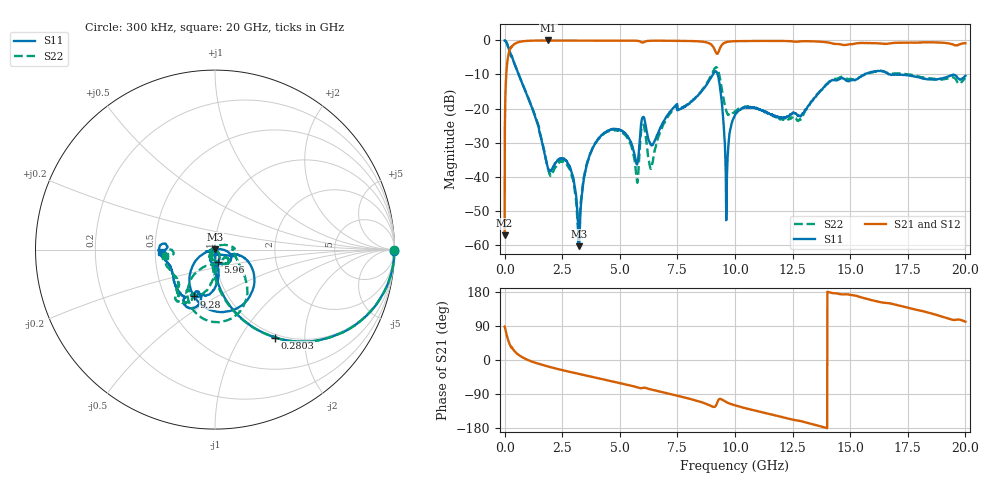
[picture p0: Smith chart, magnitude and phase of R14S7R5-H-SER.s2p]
!{R14S7R5}
!Johanson Technology Inc.
!www.johansontechnology.com
!Test Board Conditions:
!Substrate Type  RO4350B
!Substrate Thickness  20 mil
!Substrate Dk  3.66
!TL Type: GCPW
!TL Trace Width  36 mil
!TL Gap  12 mil
!Electrode orientation  Horizontal
!DUT TOPOLOGY	SERIES
!Mounting Pad LxW  26x36 mil
! Created Wed Nov 25 17:33:21 2020
! 2 Port Network Data from SP1.SP block
! freq  magS11  angS11  magS21  angS21  magS12  angS12  magS22  angS22
# khz S ma R 50
! decimated to every 10th point (10 MHz spacing) of the original 1 MHz Johanson file; values unchanged
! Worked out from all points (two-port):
!   2001 points, 300 kHz to 20 GHz, reference 50 ohm
!   highest |S21| = -0.02 dB at 1.89 GHz (marker M1); lowest = -57.3 dB at 300 kHz (marker M2)
!   |S21| within 3 dB of the highest: 211.6 MHz to 9.138 GHz (8.926 GHz wide, 191 % of centre); 9.306 GHz to end of sweep
!   lowest |S11| = -60.4 dB at 3.23 GHz (marker M3), VSWR 1.00, Z = 50 + j0.0947 ohm
!   |S11| at or under -10 dB: 606 MHz to 9.041 GHz (8.435 GHz wide, 175 % of centre); 9.249 GHz to 15.62 GHz (6.373 GHz wide, 51.2 % of centre); 16.85 GHz to end of sweep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
!   |S22| runs from -60.0 to 0.0 dB; largest |S21 - S12| = 0.02
!   S11 on the Smith chart (normalised r, x): 300 kHz: open; 280.3 MHz: 0.95, -1.43; 5.96 GHz: 1.02, -0.14; 9.28 GHz: 0.70, -0.40; 20 GHz: 0.54, -0.01
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300  0.9961 -0.3  0.001372 88.1  0.001448 90.0  0.9966 -0.3
110300  0.8859 -28.5  0.4595 61.4  0.4605 61.3  0.8863 -28.4
280300  0.5932 -55.7  0.7997 33.9  0.7997 33.9  0.594 -55.6
1890300  0.01327 -42.7  0.9974 -17.2  0.9973 -17.3  0.01266 -159.7
2760300  0.01522 30.2  0.9968 -30.4  0.9963 -30.4  0.01393 95.1
3230300  0.0009514 95.1  0.9967 -37.0  0.9964 -37.0  0.00116 -159.0
3340300  0.004675 -169.6  0.997 -38.5  0.9957 -38.5  0.005673 -110.1
3580300  0.01544 -163.8  0.9962 -41.8  0.9949 -41.8  0.01588 -107.8
4040300  0.03504 -166.2  0.995 -48.0  0.9947 -48.0  0.03444 -112.2
5160300  0.0451 -168.1  0.9938 -63.1  0.9933 -63.1  0.04288 -132.6
5740300  0.01529 -111.3  0.9876 -71.8  0.987 -71.8  0.008912 -109.2
5960300  0.07035 -77.6  0.934 -74.2  0.9345 -74.2  0.055 -74.7
6340300  0.02951 -91.2  0.9892 -77.6  0.9891 -77.6  0.01298 120.0
6670300  0.04401 -40.5  0.9917 -82.6  0.9909 -82.5  0.03775 41.7
8940300  0.2771 -37.5  0.8835 -120.7  0.8847 -120.7  0.295 -52.5
9280300  0.2858 -114.2  0.6724 -105.6  0.6748 -105.6  0.3535 -110.8
9630300  0.003281 36.1  0.9461 -111.4  0.9465 -111.4  0.09085 -109.4
1.00003e7  0.07962 -12.4  0.9739 -119.7  0.9737 -119.8  0.09045 -62.2
1.27703e7  0.07806 -94.1  0.9632 -160.0  0.9642 -160.1  0.06764 -84.5
1.33403e7  0.1291 -80.9  0.9709 -169.1  0.9729 -169.1  0.1288 -89.8
1.66703e7  0.3172 -122.4  0.8992 150.0  0.8916 149.7  0.3274 -129.7
2e7  0.3021 -177.7  0.9097 101.2  0.9087 101.5  0.281 -172.4
